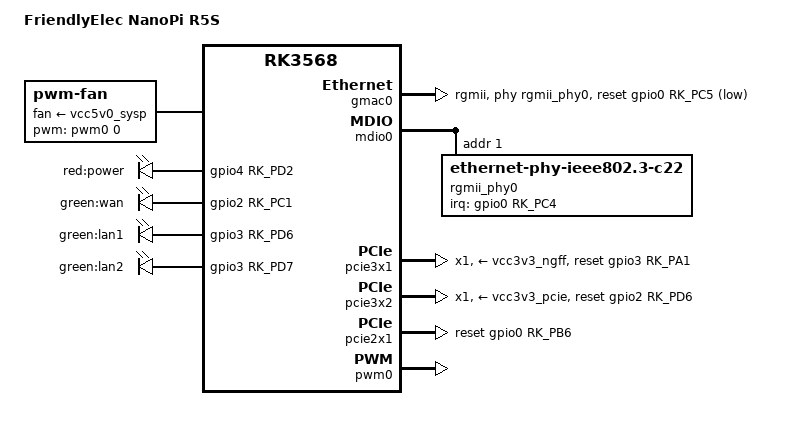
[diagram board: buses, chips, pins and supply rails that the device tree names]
// SPDX-License-Identifier: (GPL-2.0+ OR MIT)


/dts-v1/;
#include "rk3568-nanopi-common.dtsi"

/ {
	model = "FriendlyElec NanoPi R5S";
	compatible = "friendlyarm,nanopi-r5s", "rockchip,rk3568";

	aliases {
		ethernet0 = &gmac0;
	};

	fan: pwm-fan {
		compatible = "pwm-fan";
		cooling-levels = <0 18 102 170 255>;
		#cooling-cells = <2>;
		fan-supply = <&vcc5v0_sysp>;
		pwms = <&pwm0 0 50000 0>;
	};

	gpio-key {
		compatible = "gpio-key";
		pinctrl-names = "default";
		pinctrl-0 = <&key1_pin>;

		button@1 {
			debounce-interval = <50>;
			gpios = <&gpio4 RK_PA0 GPIO_ACTIVE_LOW>;
			wakeup-source;
		};
	};

	gpio-leds {
		compatible = "gpio-leds";

		sys_led: led-sys {
			gpios = <&gpio4 RK_PD2 GPIO_ACTIVE_HIGH>;
			label = "red:power";
			linux,default-trigger = "heartbeat";
			pinctrl-names = "default";
			pinctrl-0 = <&sys_led_pin>;
		};

		wan_led: led-wan {
			gpios = <&gpio2 RK_PC1 GPIO_ACTIVE_HIGH>;
			label = "green:wan";
			pinctrl-names = "default";
			pinctrl-0 = <&wan_led_pin>;
		};

		lan1_led: led-lan1 {
			gpios = <&gpio3 RK_PD6 GPIO_ACTIVE_HIGH>;
			label = "green:lan1";
			pinctrl-names = "default";
			pinctrl-0 = <&lan1_led_pin>;
		};

		lan2_led: led-lan2 {
			gpios = <&gpio3 RK_PD7 GPIO_ACTIVE_HIGH>;
			label = "green:lan2";
			pinctrl-names = "default";
			pinctrl-0 = <&lan2_led_pin>;
		};
	};
};

&gmac0 {
	phy-mode = "rgmii";
	clock_in_out = "output";

	snps,reset-gpio = <&gpio0 RK_PC5 GPIO_ACTIVE_LOW>;
	snps,reset-active-low;
	/* Reset time is 20ms, 100ms for rtl8211f */
	snps,reset-delays-us = <0 20000 100000>;

	assigned-clocks = <&cru SCLK_GMAC0_RX_TX>, <&cru SCLK_GMAC0>;
	assigned-clock-parents = <&cru SCLK_GMAC0_RGMII_SPEED>, <&cru CLK_MAC0_2TOP>;

	pinctrl-names = "default";
	pinctrl-0 = <&gmac0_miim
		     &gmac0_tx_bus2
		     &gmac0_rx_bus2
		     &gmac0_rgmii_clk
		     &gmac0_rgmii_bus>;

	tx_delay = <0x3c>;
	rx_delay = <0x2f>;

	phy-handle = <&rgmii_phy0>;
	status = "okay";
};

&mdio0 {
	rgmii_phy0: ethernet-phy@1 {
		compatible = "ethernet-phy-ieee802.3-c22";
		reg = <0x1>;
		interrupt-parent = <&gpio0>;
		interrupts = <RK_PC4 IRQ_TYPE_LEVEL_LOW>;
		pinctrl-names = "default";
		pinctrl-0 = <&gmac_int>;
	};
};

&pcie3x1 {
	num-lanes = <1>;
	// reset-gpios = <&gpio0 RK_PA0 GPIO_ACTIVE_HIGH>;
	reset-gpios = <&gpio3 RK_PA1 GPIO_ACTIVE_HIGH>;
	vpcie3v3-supply = <&vcc3v3_ngff>;
	status = "okay";
};

&pcie3x2 {
	num-lanes = <1>;
	reset-gpios = <&gpio2 RK_PD6 GPIO_ACTIVE_HIGH>;
	vpcie3v3-supply = <&vcc3v3_pcie>;
	status = "okay";
};

&pcie2x1 {
	num-viewport = <4>;
	reset-gpios = <&gpio0 RK_PB6 GPIO_ACTIVE_HIGH>;
	status = "okay";
};

&pinctrl {
	gpio-leds {

		sys_led_pin: sys-led-pin {
			rockchip,pins = <4 RK_PD2 RK_FUNC_GPIO &pcfg_pull_none>;
		};

		wan_led_pin: wan-led-pin {
			rockchip,pins = <2 RK_PC1 RK_FUNC_GPIO &pcfg_pull_none>;
		};

		lan1_led_pin: lan1-led-pin {
			rockchip,pins = <3 RK_PD6 RK_FUNC_GPIO &pcfg_pull_none>;
		};

		lan2_led_pin: lan2-led-pin {
			rockchip,pins = <3 RK_PD7 RK_FUNC_GPIO &pcfg_pull_none>;
		};
	};

	gmac {
		gmac_int: gmac-int {
			rockchip,pins = <0 RK_PC4 RK_FUNC_GPIO &pcfg_pull_up>;
		};
	};

	gpio-key {
		key1_pin: key1-pin {
			rockchip,pins = <4 RK_PA0 RK_FUNC_GPIO &pcfg_pull_up>;
		};
	};
};

&pwm0 {
	status = "okay";
};
